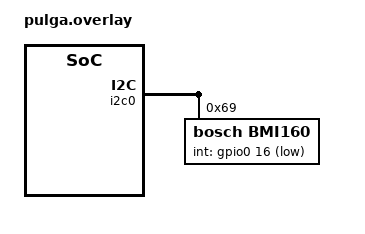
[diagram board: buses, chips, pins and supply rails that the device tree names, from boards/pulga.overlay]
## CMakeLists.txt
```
#-------------------------------------------------------------------------------
# Zephyr Example Application
#
# Copyright (c) 2021 Nordic Semiconductor ASA
# SPDX-License-Identifier: Apache-2.0

cmake_minimum_required(VERSION 3.13.1)

find_package(Zephyr REQUIRED HINTS $ENV{ZEPHYR_BASE})

project(app LANGUAGES C)

target_include_directories(app PRIVATE ${CMAKE_CURRENT_SOURCE_DIR}/src)

target_sources(app PRIVATE 
                    src/main.c
                    src/bmi160.c)
```

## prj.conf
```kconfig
# Copyright (c) 2021 Nordic Semiconductor ASA
# SPDX-License-Identifier: Apache-2.0
#
# This file contains selected Kconfig options for the application.

# Activates the use of Zephyr's API for sensors
CONFIG_SENSOR=y
CONFIG_SYSTEM_WORKQUEUE_STACK_SIZE=2048
```

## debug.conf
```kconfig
# Copyright (c) 2021 Nordic Semiconductor ASA
# SPDX-License-Identifier: Apache-2.0
#
# This is a Kconfig fragment which can be used to enable debug-related options
# in the application. See the README for more details.

CONFIG_APP_LOG_LEVEL_DBG=y
CONFIG_SENSOR_LOG_LEVEL_DBG=y
CONFIG_DEBUG_OPTIMIZATIONS=y
CONFIG_LOG_PROCESS_THREAD_SLEEP_MS=1
CONFIG_LOG_PROCESS_THREAD_STACK_SIZE=1024
CONFIG_LOG_BUFFER_SIZE=8192
CONFIG_CBPRINTF_FP_SUPPORT=y
### GNSS logging
# CONFIG_GNSS_LOG_LEVEL_DBG=y
# CONFIG_MODEM_MODULES_LOG_LEVEL_DBG=y
### LoRa logging
CONFIG_LORAWAN_LOG_LEVEL_DBG=y
CONFIG_LORA_LOG_LEVEL_DBG=y
```

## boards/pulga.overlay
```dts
/**
* This piece of code activates the sensors internal to the board,
* connected to the CPU by I2C0 
*/
&i2c0 {

	/*Visible light, Infrared and UV Sensor*/
	si1133@55 {
		compatible = "silabs,si1133";
		reg = <0x55>;
		status = "disabled";
	};

	/*Accelerometer and Gyroscope*/
	bmi160@69 {
		compatible = "bosch,bmi160";
		reg = <0x69>;
		int-gpios = <&gpio0 16 GPIO_ACTIVE_LOW>;
		status = "okay";
	};

	/*Umidity, Pressure and Temperature Sensor*/
	bme280@77 {
		compatible = "bosch,bme280";
		reg = <0x77>;
		status = "disabled";
	};
};
```

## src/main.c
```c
#include <zephyr/logging/log.h>

#include <zephyr/drivers/sensor.h>
#include <zephyr/drivers/i2c.h>

#include <zephyr/types.h>
#include <stddef.h>
#include <string.h>
#include <errno.h>

#include <assert.h>
#include <stdio.h>
#include <stdlib.h>

#include <zephyr/sys/printk.h>
#include <zephyr/sys/byteorder.h>
#include <zephyr/kernel.h>


// change log level in debug.conf
LOG_MODULE_REGISTER(main, CONFIG_APP_LOG_LEVEL);

#include "bmi160.h"
//#include "bmx280_params.h"
//#include "bmx280.h"

/* Macros for frames to be read */

#define ACC_FRAMES 50 /* 40 Frames are available every 25ms @ 1600 Hz */
/* 50 frames containing a 1 byte header, 6 bytes of accelerometer,
 * This results in 7 bytes per frame*/
#define FIFO_SIZE 350

/* Variable declarations */
struct bmi160_dev bmi;

uint8_t fifo_buff[FIFO_SIZE];
struct bmi160_fifo_frame fifo_frame;
struct bmi160_sensor_data accel_data[ACC_FRAMES];

int8_t rslt;

typedef struct
{
    int16_t X_axis;
    int16_t Y_axis;
    int16_t Z_axis;
} leitura;

#define MAX_READINGS 1600

leitura readings_buffer[MAX_READINGS];
int write_index;

int8_t init_bmiSensor(void);
void direct_read(void);
int8_t acquire_ACC_Values(void);

static const struct device *dev;

union bmi160_bus {
	struct i2c_dt_spec i2c;
};

typedef bool (*bmi160_bus_ready_fn)(const struct device *dev);
typedef int (*bmi160_reg_read_fn)(const struct device *dev,
				  uint8_t reg_addr, void *data, uint8_t len);
typedef int (*bmi160_reg_write_fn)(const struct device *dev,
				   uint8_t reg_addr, void *data, uint8_t len);

struct bmi160_bus_io {
	bmi160_bus_ready_fn ready;
	bmi160_reg_read_fn read;
	bmi160_reg_write_fn write;
};

struct bmi160_cfg_i2c {
	union bmi160_bus bus;
	const struct bmi160_bus_io *bus_io;
};

int8_t user_i2c_read(uint8_t dev_addr, uint8_t reg_addr, uint8_t *data, uint16_t len)
{
    // LOG_DBG("i2c_read_regs(%d, %x, %x, ...)\n", dev, dev_addr, reg_addr);
    const struct bmi160_cfg_i2c *cfg = dev->config;

	return i2c_burst_read_dt(&cfg->bus.i2c, reg_addr, data, len);
}

int8_t user_i2c_write(uint8_t dev_addr, uint8_t reg_addr, uint8_t *data, uint16_t len)
{
    // LOG_DBG("i2c_write_regs(%d, %x, %x, ...)\n", dev, dev_addr, reg_addr);
    const struct bmi160_cfg_i2c *cfg = dev->config;

	return i2c_burst_write_dt(&cfg->bus.i2c, reg_addr, data, len);
}

void user_delay(uint32_t period)
{
    k_sleep(K_MSEC(period));
}

/* accel params and conversion constants */
// #define AC (float)2048.0 // for 16G
#define AC (float)8192.0 // for 4G
// #define AC (float)16384.0 // for 2G

#define STR_ANSWER_BUFFER_SIZE 4096

uint32_t t1, t2;

int main(void)
{
    k_sleep(K_MSEC(1000));
    
    rslt = init_bmiSensor();

    if (rslt != BMI160_OK)
        {
            LOG_DBG("Error init BMI160 - %d\n \r", rslt);
            goto out_error;
        }
    
    k_sleep(K_MSEC(500));

    while (1)
    {
        write_index = 0;
        rslt = bmi160_set_fifo_flush(&bmi);
        if (rslt != BMI160_OK)
        {
            LOG_DBG("Error flushing BMI160 FIFO - %d\n \r", rslt);
            goto out_error;
        }
        LOG_DBG("flush ok");
        t1 = k_uptime_get();
        rslt = acquire_ACC_Values();
        t2 = k_uptime_get();
        direct_read();
        printf("time: %d \n\r", t2 - t1);
    }
out_error:
    while (1)
    {
    LOG_DBG("Error \n \r");
    k_sleep(K_MSEC(500));
    }
}

int8_t init_bmiSensor(void)
{
    LOG_DBG("Initializing BMI160");
    dev = DEVICE_DT_GET_ANY(bosch_bmi160);

    if (!dev)
    {
        LOG_ERR("bmi160 not declared at device tree");
        return -ENODEV;
    }
    else if (!device_is_ready(dev))
    {
        LOG_ERR("device \"%s\" is not ready", dev->name);
        return -EAGAIN;
    }


    k_sleep(K_MSEC(500));

    /* Initialize I2C as the host interface to the BMI160 */

    bmi.id = BMI160_I2C_ADDR;
    bmi.read = user_i2c_read;
    bmi.write = user_i2c_write;
    bmi.delay_ms = user_delay;
    bmi.intf = BMI160_I2C_INTF;

    rslt = bmi160_init_i2c(&bmi);
    if (rslt == BMI160_OK)
    {
        LOG_DBG("Success initializing BMI160 - Chip ID 0x%X\n \r", bmi.chip_id);
    }
    else if (rslt == BMI160_E_DEV_NOT_FOUND)
    {
        LOG_DBG("Error initializing BMI160: device not found\n \r");
        return rslt;
    }
    else
    {
        LOG_DBG("Error initializing BMI160 - %d\n \r", rslt);
        return rslt;
    }

    /* Select the Output data rate, range of accelerometer sensor */
    bmi.accel_cfg.odr = BMI160_ACCEL_ODR_1600HZ;
    bmi.accel_cfg.range = BMI160_ACCEL_RANGE_4G;
    // bmi.accel_cfg.range = BMI160_ACCEL_RANGE_2G;

    /* Normal power mode for accelerometer */
    bmi.accel_cfg.power = BMI160_ACCEL_NORMAL_MODE;

    /* Suspend power mode for Gyroscope */
    bmi.gyro_cfg.power = BMI160_GYRO_SUSPEND_MODE;

    /* Set the sensor configuration */
    rslt = bmi160_set_sens_conf(&bmi);
    if (rslt != BMI160_OK)
    {
        LOG_DBG("Error configuring BMI160 - %d\n \r", rslt);
        return rslt;
    }
    
    LOG_DBG("config \n \r");
    
    /* Link the FIFO memory location */
    fifo_frame.data = fifo_buff;
    fifo_frame.length = FIFO_SIZE;
    bmi.fifo = &fifo_frame;

    /* Clear all existing FIFO configurations */
    rslt = bmi160_set_fifo_config(BMI160_FIFO_CONFIG_1_MASK, BMI160_DISABLE, &bmi);
    if (rslt != BMI160_OK)
    {
        LOG_DBG("Error clearing fifo - %d\n \r", rslt);
        return rslt;
    }
    LOG_DBG("clear \n \r");
    uint8_t fifo_config = BMI160_FIFO_HEADER | BMI160_FIFO_ACCEL;
    rslt = bmi160_set_fifo_config(fifo_config, BMI160_ENABLE, &bmi);
    if (rslt != BMI160_OK)
    {
        LOG_DBG("Error enabling fifo - %d\n \r", rslt);
        return rslt;
    }
    LOG_DBG("enable \n \r");

    return BMI160_OK;
}

int8_t acquire_ACC_Values(void)
{
    while(write_index < MAX_READINGS){
        /* It is VERY important to reload the length of the FIFO memory as after the
         * call to bmi160_get_fifo_data(), the bmi.fifo->length contains the
         * number of bytes read from the FIFO */
        bmi.fifo->length = FIFO_SIZE;
        
        rslt = bmi160_get_fifo_data(&bmi);
        if (rslt != BMI160_OK)
        {
            LOG_DBG("Error getting fifo data - %d\n \r", rslt);
            return rslt;
        }

        uint8_t acc_inst = ACC_FRAMES;
        rslt = bmi160_extract_accel(accel_data, &acc_inst, &bmi);
        if (rslt != BMI160_OK)
        {
            LOG_DBG("Error extracting accel data - %d\n \r", rslt);
            return rslt;
        }
        
        
        for (int j = 0; j < acc_inst && write_index < MAX_READINGS; j++)
        {
            readings_buffer[write_index].X_axis = accel_data[j].x;
            readings_buffer[write_index].Y_axis = accel_data[j].y;
            readings_buffer[write_index].Z_axis = accel_data[j].z;
            write_index++; // increment write index
        }
    }

    return BMI160_OK;
}

void direct_read(void)
{
    for (int i = 0; i < MAX_READINGS; i++)
    {
        printf("%2.6f %2.6f %2.6f \n\r", ((float)readings_buffer[i].X_axis) / AC
                                     , ((float)readings_buffer[i].Y_axis) / AC
                                     , ((float)readings_buffer[i].Z_axis) / AC);
    }
}
```
